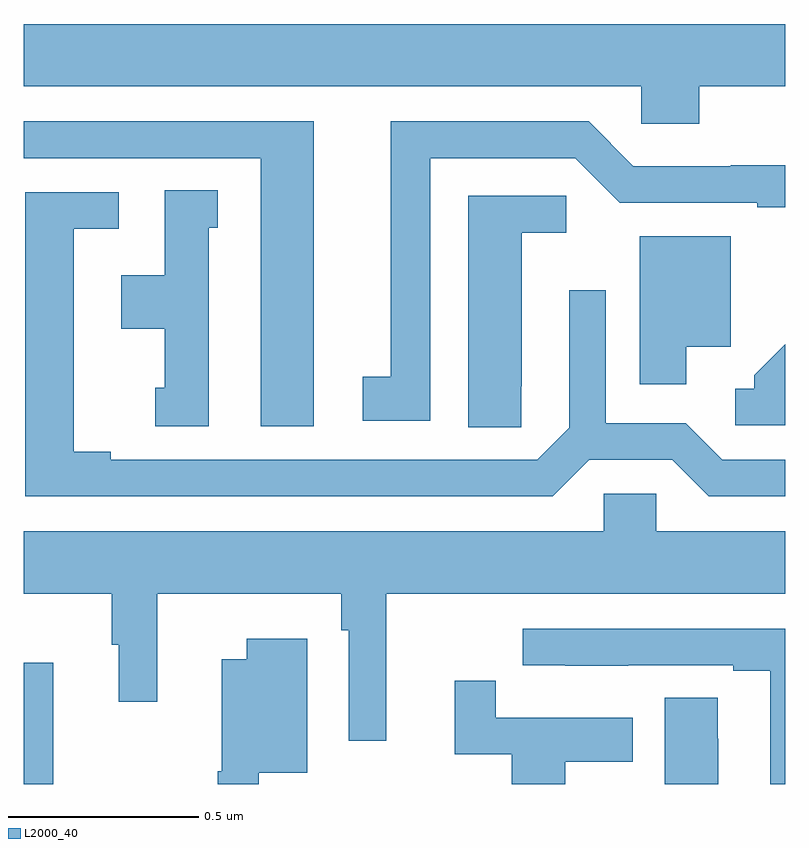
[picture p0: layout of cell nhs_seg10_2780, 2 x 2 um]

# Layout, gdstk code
import gdstk
lib = gdstk.Library(unit=1e-6, precision=1e-09)
def R(c, l, rs):  # rectangles x0, y0, x1, y1
    for r in rs: c.add(gdstk.rectangle(r[:2], r[2:], *l))
def P(c, l, *ps):  # polygons
    for p in ps: c.add(gdstk.Polygon(p, *l))
L2000_40 = (2000, 40)

nhs_seg10_2780 = lib.new_cell('nhs_seg10_2780')
R(nhs_seg10_2780, L2000_40, [(145,1282.5,145.078,1282.819)])
P(nhs_seg10_2780, L2000_40, [(146.774,1284.332),(147,1284.332),(147,1284.496),(145,1284.496),(145,1284.332),(146.622,1284.332),(146.622,1284.234),(146.774,1284.234)],
  [(146.068,1284.144),(146.448,1284.144),(146.565,1284.027),(146.927,1284.027),(146.927,1284.015),(147,1284.015),(147,1284.125),(146.857,1284.125),(146.857,1284.123),(146.601,1284.123),(146.484,1284.24),(145.964,1284.24),(145.964,1283.57),(145.89,1283.57),(145.89,1283.454),(146.068,1283.454)],
  [(145.762,1284.24),(145,1284.24),(145,1284.144),(145.622,1284.144),(145.622,1283.439),(145.762,1283.439)],
  [(145.486,1283.961),(145.51,1283.961),(145.51,1284.059),(145.37,1284.059),(145.37,1283.836),(145.256,1283.836),(145.256,1283.696),(145.37,1283.696),(145.37,1283.541),(145.346,1283.541),(145.346,1283.439),(145.486,1283.439)],
  [(146.485,1283.352),(146.703,1283.352),(146.799,1283.256),(147,1283.256),(147,1283.352),(146.835,1283.352),(146.739,1283.448),(146.529,1283.448),(146.529,1283.797),(146.433,1283.797),(146.433,1283.436),(146.349,1283.352),(145.228,1283.352),(145.228,1283.372),(145.132,1283.372),(145.132,1283.958),(145.249,1283.958),(145.249,1284.054),(145.004,1284.054),(145.004,1283.256),(146.389,1283.256)],
  [(146.307,1283.545),(146.308,1283.545),(146.308,1283.948),(146.425,1283.948),(146.425,1284.045),(146.168,1284.045),(146.168,1283.437),(146.307,1283.437)],
  [(146.74,1283.648),(146.857,1283.648),(146.857,1283.938),(146.618,1283.938),(146.618,1283.55),(146.74,1283.55)],
  [(147,1283.655),(146.918,1283.573),(146.918,1283.538),(146.868,1283.538),(146.868,1283.442),(147,1283.442)],
  [(145.952,1283),(147,1283),(147,1283.164),(146.661,1283.164),(146.661,1283.262),(146.523,1283.262),(146.523,1283.164),(145,1283.164),(145,1283),(145.231,1283),(145.231,1282.866),(145.25,1282.866),(145.25,1282.716),(145.35,1282.716),(145.35,1283),(145.834,1283),(145.834,1282.904),(145.854,1282.904),(145.854,1282.614),(145.952,1282.614)],
  [(147,1282.908),(146.31,1282.908),(146.31,1282.812),(146.422,1282.812),(146.422,1282.811),(146.588,1282.811),(146.588,1282.812),(146.864,1282.812),(146.864,1282.797),(146.96,1282.797),(146.96,1282.5),(147,1282.5)],
  [(145.617,1282.529),(145.744,1282.529),(145.744,1282.882),(145.586,1282.882),(145.586,1282.828),(145.52,1282.828),(145.52,1282.533),(145.509,1282.533),(145.509,1282.5),(145.617,1282.5)],
  [(146.422,1282.558),(146.599,1282.558),(146.599,1282.674),(146.24,1282.674),(146.24,1282.771),(146.132,1282.771),(146.132,1282.578),(146.282,1282.578),(146.282,1282.5),(146.422,1282.5)],
  [(146.824,1282.619),(146.823,1282.619),(146.823,1282.727),(146.684,1282.727),(146.684,1282.5),(146.824,1282.5)])

lib.write_gds('nhs_seg10_2780.gds')
